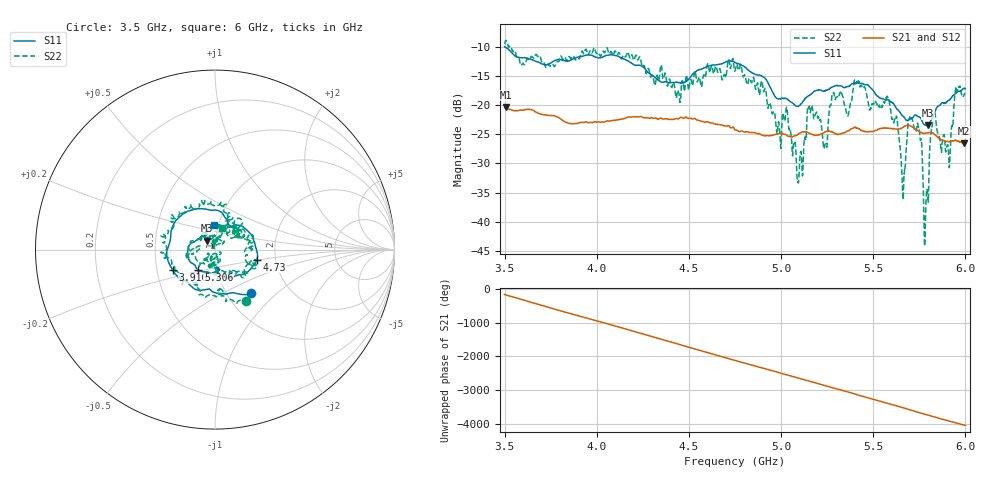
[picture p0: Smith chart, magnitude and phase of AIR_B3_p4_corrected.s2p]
! Created with skrf 1.9.0 (http://scikit-rf.org).
# Hz S RI R 50.0
!freq ReS11 ImS11 ReS21 ImS21 ReS12 ImS12 ReS22 ImS22
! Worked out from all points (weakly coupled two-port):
!   1601 points, 3.5 GHz to 6 GHz, reference 50 ohm
!   highest |S21| = -20.32 dB at 3.508 GHz (marker M1); lowest = -26.5 dB at 5.991 GHz (marker M2)
!   lowest |S11| = -23.5 dB at 5.795 GHz (marker M3), VSWR 1.14, Z = 45.4 + j4.48 ohm
!   |S11| at or under -10 dB: 3.501 GHz to end of sweep
!   |S22| runs from -44.2 to -8.9 dB; largest |S21 - S12| = 0.0013
!   S11 on the Smith chart (normalised r, x): 3.5 GHz: 1.29, -0.70; 3.916 GHz: 0.61, -0.15; 4.73 GHz: 1.59, -0.19; 5.306 GHz: 0.81, -0.19; 6 GHz: 0.95, +0.27
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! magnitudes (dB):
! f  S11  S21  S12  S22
! 3.5 GHz  -10.0  -20.4  -20.4  -9.5
! 3.508 GHz  -10.1  -20.3  -20.4  -8.9
! 3.916 GHz  -11.6  -23.0  -22.9  -11.1
! 3.917 GHz  -11.6  -22.9  -22.9  -10.8
! 4.334 GHz  -15.7  -22.4  -22.3  -15.8
! 4.73 GHz  -12.4  -23.9  -23.8  -13.1
! 4.75 GHz  -12.6  -24.2  -24.2  -14.1
! 5.027 GHz  -18.8  -25.1  -25.1  -20.7
! 5.092 GHz  -20.2  -24.9  -24.9  -33.3
! 5.167 GHz  -18.0  -25.0  -25.0  -20.1
! 5.239 GHz  -17.6  -24.6  -24.6  -26.7
! 5.306 GHz  -16.6  -25.0  -24.9  -18.6
! 5.584 GHz  -19.1  -24.0  -23.9  -19.1
! 5.662 GHz  -21.9  -23.7  -23.7  -36.2
! 5.703 GHz  -22.3  -23.6  -23.6  -21.9
! 5.752 GHz  -22.0  -24.6  -24.5  -24.8
! 5.783 GHz  -23.4  -24.8  -24.7  -40.1
! 5.795 GHz  -23.5  -24.8  -24.7  -35.5
! 5.827 GHz  -21.8  -24.8  -24.8  -21.2
! 5.906 GHz  -19.2  -26.2  -26.2  -27.1
! 5.991 GHz  -17.1  -26.5  -26.4  -18.4
! 6 GHz  -17.2  -26.5  -26.4  -18.0
